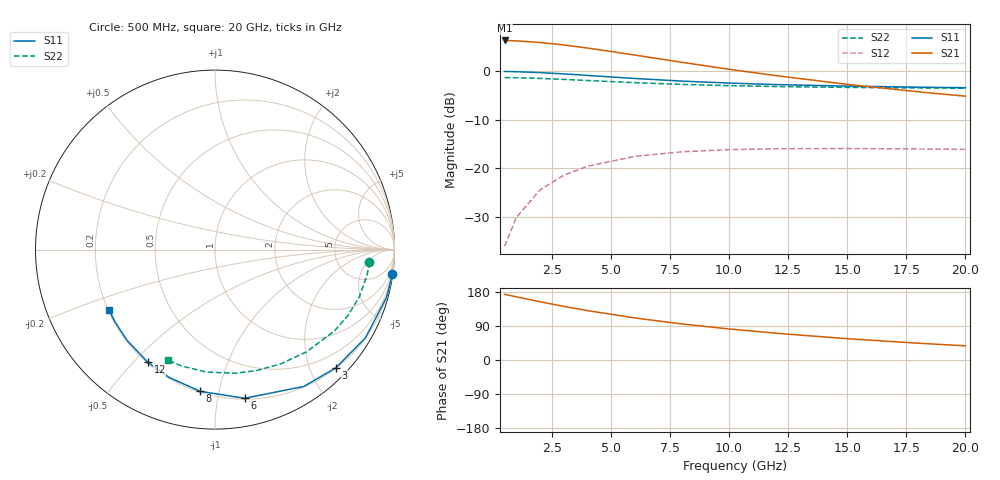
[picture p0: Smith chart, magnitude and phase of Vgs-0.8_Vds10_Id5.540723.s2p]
# Hz S RI R 50
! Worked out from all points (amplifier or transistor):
!   12 points, 500 MHz to 20 GHz, reference 50 ohm
!   highest |S21| = 6.4 dB at 500 MHz (marker M1)
!   |S21| within 3 dB of that: start of sweep to 5.994 GHz
!   unconditionally stable (mu >= 1): 14.31 GHz to end of sweep
!   at 2 GHz: K = 0.11, MSG = 15.2 dB, |S12| = -24.4 dB
!   at 8 GHz: K = 0.49, MSG = 9.2 dB, |S12| = -16.6 dB
!   at 20 GHz: K = 1.58, MAG = 1.0 dB, |S12| = -16.1 dB
!   S11 on the Smith chart (normalised r, x): 500 MHz: 0, -15; 3 GHz: 0.21, -2.44; 6 GHz: 0.21, -1.20; 8 GHz: 0.21, -0.88; 12 GHz: 0.20, -0.55; 20 GHz: 0.20, -0.25
5e8  0.9889 -0.1351  -2.07 0.2441  0.0015 0.0157  0.8605 -0.0695
1e9  0.9564 -0.2649  -2.007 0.4779  0.00589 0.0306  0.8486 -0.1374
2e9  0.838 -0.4918  -1.78 0.8807  0.0218 0.0558  0.8041 -0.2627
3e9  0.6736 -0.6585  -1.467 1.165  0.0436 0.0726  0.74 -0.3684
4e9  0.4937 -0.7629  -1.129 1.327  0.067 0.0807  0.6653 -0.4533
6e9  0.1648 -0.8284  -0.5309 1.376  0.1076 0.0776  0.5101 -0.5698
8e9  -0.0821 -0.7897  -0.1119 1.236  0.1346 0.0617  0.3633 -0.6377
1e10  -0.2542 -0.7131  0.1486 1.041  0.1499 0.0427  0.2298 -0.6743
1.2e10  -0.3734 -0.6283  0.3008 0.8507  0.1573 0.0248  0.1087 -0.6892
1.5e10  -0.4891 -0.5071  0.4087 0.6108  0.16 0.0025  -0.0513 -0.6817
1.8e10  -0.559 -0.3996  0.4405 0.4301  0.1577 -0.0144  -0.1858 -0.6484
2e10  -0.5897 -0.3355  0.4407 0.3371  0.1551 -0.0233  -0.2622 -0.6165
